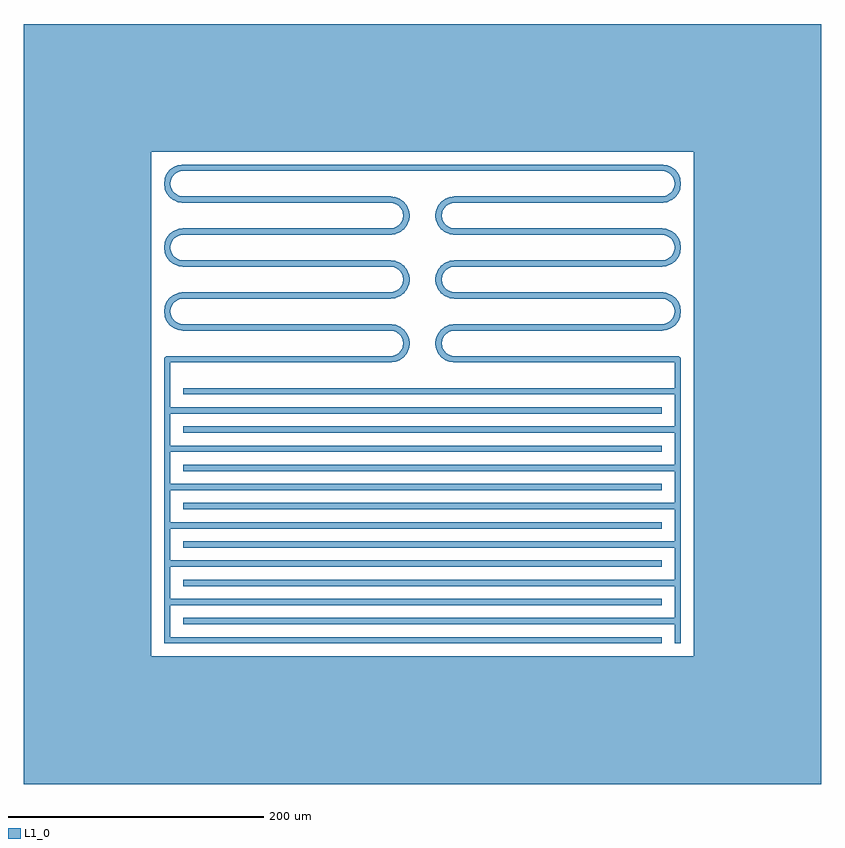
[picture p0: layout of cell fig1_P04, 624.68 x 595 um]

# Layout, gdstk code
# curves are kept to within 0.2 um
import gdstk
lib = gdstk.Library(unit=1e-6, precision=1e-09)
def R(c, l, rs):  # rectangles x0, y0, x1, y1
    for r in rs: c.add(gdstk.rectangle(r[:2], r[2:], *l))
def A(c, l, x, y, w, h, nx, ny, dx, dy):  # array of equal rectangles
    R(c, l, [(x+i*dx, y+j*dy, x+i*dx+w, y+j*dy+h) for i in range(nx) for j in range(ny)])
def P(c, l, *ps):  # polygons
    for p in ps: c.add(gdstk.Polygon(p, *l))
L1_0 = (1, 0)

fig1_p04 = lib.new_cell('fig1_P04')
A(fig1_p04, L1_0, -202.338, 0, 389.676, 5, 1, 7, 0, 30)
A(fig1_p04, L1_0, -187.338, 15, 389.676, 5, 1, 7, 0, 30)
A(fig1_p04, L1_0, -187.338, 245, 162.338, 5, 1, 5, 0, 25)
A(fig1_p04, L1_0, 25, 245, 162.338, 5, 1, 5, 0, 25)
R(fig1_p04, L1_0, [(-312.338,-110,312.338,-10), (-312.338,-10,-212.338,385), (212.338,-10,312.338,385), (-202.338,0,-197.338,200), (197.338,0,202.338,200), (-202.338,197.5,-197.338,222.5), (197.338,197.5,202.338,222.5), (-199.838,220,-25,225), (25,220,199.838,225), (-187.338,370,187.338,375), (-312.338,385,312.338,485)])
P(fig1_p04, L1_0, [(14.979,334.674),(10.021,335.326),(10.447,338.562),(15.405,337.909)],
  [(12.926,335.735),(11.158,336.467),(10.426,338.235),(11.158,340.003),(12.926,340.735),(14.694,340.003),(15.426,338.235),(14.694,336.467)],
  [(12.5,332.5),(10.732,333.232),(10,335),(10.732,336.768),(12.5,337.5),(14.268,336.768),(15,335),(14.268,333.232)],
  [(195.11,347.191),(192.066,351.158),(194.655,353.145),(197.699,349.178)],
  [(191.53,345.616),(189.617,350.236),(192.631,351.484),(194.545,346.865)],
  [(187.664,345.021),(187.012,349.979),(190.247,350.405),(190.9,345.447)],
  [(190.247,369.595),(187.012,370.021),(187.664,374.979),(190.9,374.553)],
  [(192.631,368.516),(189.617,369.764),(191.53,374.384),(194.545,373.135)],
  [(194.655,366.855),(192.066,368.842),(195.11,372.809),(197.699,370.822)],
  [(196.18,364.728),(194.193,367.317),(198.16,370.361),(200.147,367.772)],
  [(197.102,362.279),(195.854,365.293),(200.473,367.207),(201.722,364.192)],
  [(197.359,359.674),(196.933,362.909),(201.891,363.562),(202.317,360.326)],
  [(201.891,356.438),(196.933,357.091),(197.359,360.326),(202.317,359.674)],
  [(187.338,370),(185.57,370.732),(184.838,372.5),(185.57,374.268),(187.338,375),(189.106,374.268),(189.838,372.5),(189.106,370.732)],
  [(190.573,369.574),(188.805,370.306),(188.073,372.074),(188.805,373.842),(190.573,374.574),(192.341,373.842),(193.073,372.074),(192.341,370.306)],
  [(193.588,368.325),(191.82,369.058),(191.088,370.825),(191.82,372.593),(193.588,373.325),(195.356,372.593),(196.088,370.825),(195.356,369.058)],
  [(196.177,366.339),(194.409,367.071),(193.677,368.839),(194.409,370.607),(196.177,371.339),(197.945,370.607),(198.677,368.839),(197.945,367.071)],
  [(198.163,363.75),(196.396,364.482),(195.663,366.25),(196.396,368.018),(198.163,368.75),(199.931,368.018),(200.663,366.25),(199.931,364.482)],
  [(199.412,360.735),(197.644,361.467),(196.912,363.235),(197.644,365.003),(199.412,365.735),(201.18,365.003),(201.912,363.235),(201.18,361.467)],
  [(199.838,357.5),(198.07,358.232),(197.338,360),(198.07,361.768),(199.838,362.5),(201.606,361.768),(202.338,360),(201.606,358.232)],
  [(199.412,354.265),(197.644,354.997),(196.912,356.765),(197.644,358.533),(199.412,359.265),(201.18,358.533),(201.912,356.765),(201.18,354.997)],
  [(198.163,351.25),(196.396,351.982),(195.663,353.75),(196.396,355.518),(198.163,356.25),(199.931,355.518),(200.663,353.75),(199.931,351.982)],
  [(196.177,348.661),(194.409,349.393),(193.677,351.161),(194.409,352.929),(196.177,353.661),(197.945,352.929),(198.677,351.161),(197.945,349.393)],
  [(193.588,346.675),(191.82,347.407),(191.088,349.175),(191.82,350.942),(193.588,351.675),(195.356,350.942),(196.088,349.175),(195.356,347.407)],
  [(190.573,345.426),(188.805,346.158),(188.073,347.926),(188.805,349.694),(190.573,350.426),(192.341,349.694),(193.073,347.926),(192.341,346.158)],
  [(187.338,345),(185.57,345.732),(184.838,347.5),(185.57,349.268),(187.338,350),(189.106,349.268),(189.838,347.5),(189.106,345.732)],
  [(200.473,352.793),(195.854,354.707),(197.102,357.721),(201.722,355.808)],
  [(198.16,349.639),(194.193,352.683),(196.18,355.272),(200.147,352.228)],
  [(19.707,343.516),(17.793,348.135),(20.808,349.384),(22.721,344.764)],
  [(17.683,341.855),(14.639,345.822),(17.228,347.809),(20.272,343.842)],
  [(16.158,339.728),(12.191,342.772),(14.178,345.361),(18.145,342.317)],
  [(25,345),(23.232,345.732),(22.5,347.5),(23.232,349.268),(25,350),(26.768,349.268),(27.5,347.5),(26.768,345.732)],
  [(21.765,344.574),(19.997,345.306),(19.265,347.074),(19.997,348.842),(21.765,349.574),(23.533,348.842),(24.265,347.074),(23.533,345.306)],
  [(18.75,343.325),(16.982,344.058),(16.25,345.825),(16.982,347.593),(18.75,348.325),(20.518,347.593),(21.25,345.825),(20.518,344.058)],
  [(16.161,341.339),(14.393,342.071),(13.661,343.839),(14.393,345.607),(16.161,346.339),(17.929,345.607),(18.661,343.839),(17.929,342.071)],
  [(14.175,338.75),(12.407,339.482),(11.675,341.25),(12.407,343.018),(14.175,343.75),(15.942,343.018),(16.675,341.25),(15.942,339.482)],
  [(15.236,337.279),(10.616,339.192),(11.865,342.207),(16.484,340.293)],
  [(22.091,344.595),(21.438,349.553),(24.674,349.979),(25.326,345.021)],
  [(16.158,239.728),(12.191,242.772),(14.178,245.361),(18.145,242.317)],
  [(15.236,237.279),(10.616,239.192),(11.865,242.207),(16.484,240.293)],
  [(14.979,234.674),(10.021,235.326),(10.447,238.562),(15.405,237.909)],
  [(10.447,231.438),(10.021,234.674),(14.979,235.326),(15.405,232.091)],
  [(11.865,227.793),(10.616,230.808),(15.236,232.721),(16.484,229.707)],
  [(14.178,224.639),(12.191,227.228),(16.158,230.272),(18.145,227.683)],
  [(17.228,222.191),(14.639,224.178),(17.683,228.145),(20.272,226.158)],
  [(20.808,220.616),(17.793,221.865),(19.707,226.484),(22.721,225.236)],
  [(24.674,220.021),(21.438,220.447),(22.091,225.405),(25.326,224.979)],
  [(20.808,320.616),(17.793,321.865),(19.707,326.484),(22.721,325.236)],
  [(24.674,320.021),(21.438,320.447),(22.091,325.405),(25.326,324.979)],
  [(10.447,331.438),(10.021,334.674),(14.979,335.326),(15.405,332.091)],
  [(11.865,327.793),(10.616,330.808),(15.236,332.721),(16.484,329.707)],
  [(22.091,294.595),(21.438,299.553),(24.674,299.979),(25.326,295.021)],
  [(19.707,293.516),(17.793,298.135),(20.808,299.384),(22.721,294.764)],
  [(17.683,291.855),(14.639,295.822),(17.228,297.809),(20.272,293.842)],
  [(16.158,289.728),(12.191,292.772),(14.178,295.361),(18.145,292.317)],
  [(15.236,287.279),(10.616,289.192),(11.865,292.207),(16.484,290.293)],
  [(14.979,284.674),(10.021,285.326),(10.447,288.562),(15.405,287.909)],
  [(10.447,281.438),(10.021,284.674),(14.979,285.326),(15.405,282.091)],
  [(11.865,277.793),(10.616,280.808),(15.236,282.721),(16.484,279.707)],
  [(14.178,274.639),(12.191,277.228),(16.158,280.272),(18.145,277.683)],
  [(17.228,272.191),(14.639,274.178),(17.683,278.145),(20.272,276.158)],
  [(20.808,270.616),(17.793,271.865),(19.707,276.484),(22.721,275.236)],
  [(24.674,270.021),(21.438,270.447),(22.091,275.405),(25.326,274.979)],
  [(14.178,324.639),(12.191,327.228),(16.158,330.272),(18.145,327.683)],
  [(17.228,322.191),(14.639,324.178),(17.683,328.145),(20.272,326.158)],
  [(22.091,244.595),(21.438,249.553),(24.674,249.979),(25.326,245.021)],
  [(19.707,243.516),(17.793,248.135),(20.808,249.384),(22.721,244.764)],
  [(17.683,241.855),(14.639,245.822),(17.228,247.809),(20.272,243.842)],
  [(12.926,329.265),(11.158,329.997),(10.426,331.765),(11.158,333.533),(12.926,334.265),(14.694,333.533),(15.426,331.765),(14.694,329.997)],
  [(14.175,326.25),(12.407,326.982),(11.675,328.75),(12.407,330.518),(14.175,331.25),(15.942,330.518),(16.675,328.75),(15.942,326.982)],
  [(16.161,323.661),(14.393,324.393),(13.661,326.161),(14.393,327.929),(16.161,328.661),(17.929,327.929),(18.661,326.161),(17.929,324.393)],
  [(18.75,321.675),(16.982,322.407),(16.25,324.175),(16.982,325.942),(18.75,326.675),(20.518,325.942),(21.25,324.175),(20.518,322.407)],
  [(21.765,320.426),(19.997,321.158),(19.265,322.926),(19.997,324.694),(21.765,325.426),(23.533,324.694),(24.265,322.926),(23.533,321.158)],
  [(25,320),(23.232,320.732),(22.5,322.5),(23.232,324.268),(25,325),(26.768,324.268),(27.5,322.5),(26.768,320.732)],
  [(25,295),(23.232,295.732),(22.5,297.5),(23.232,299.268),(25,300),(26.768,299.268),(27.5,297.5),(26.768,295.732)],
  [(21.765,294.574),(19.997,295.306),(19.265,297.074),(19.997,298.842),(21.765,299.574),(23.533,298.842),(24.265,297.074),(23.533,295.306)],
  [(18.75,293.325),(16.982,294.058),(16.25,295.825),(16.982,297.593),(18.75,298.325),(20.518,297.593),(21.25,295.825),(20.518,294.058)],
  [(16.161,291.339),(14.393,292.071),(13.661,293.839),(14.393,295.607),(16.161,296.339),(17.929,295.607),(18.661,293.839),(17.929,292.071)],
  [(14.175,288.75),(12.407,289.482),(11.675,291.25),(12.407,293.018),(14.175,293.75),(15.942,293.018),(16.675,291.25),(15.942,289.482)],
  [(12.926,285.735),(11.158,286.467),(10.426,288.235),(11.158,290.003),(12.926,290.735),(14.694,290.003),(15.426,288.235),(14.694,286.467)],
  [(12.5,282.5),(10.732,283.232),(10,285),(10.732,286.768),(12.5,287.5),(14.268,286.768),(15,285),(14.268,283.232)],
  [(12.926,279.265),(11.158,279.997),(10.426,281.765),(11.158,283.533),(12.926,284.265),(14.694,283.533),(15.426,281.765),(14.694,279.997)],
  [(14.175,276.25),(12.407,276.982),(11.675,278.75),(12.407,280.518),(14.175,281.25),(15.942,280.518),(16.675,278.75),(15.942,276.982)],
  [(16.161,273.661),(14.393,274.393),(13.661,276.161),(14.393,277.929),(16.161,278.661),(17.929,277.929),(18.661,276.161),(17.929,274.393)],
  [(18.75,271.675),(16.982,272.407),(16.25,274.175),(16.982,275.942),(18.75,276.675),(20.518,275.942),(21.25,274.175),(20.518,272.407)],
  [(21.765,270.426),(19.997,271.158),(19.265,272.926),(19.997,274.694),(21.765,275.426),(23.533,274.694),(24.265,272.926),(23.533,271.158)],
  [(25,270),(23.232,270.732),(22.5,272.5),(23.232,274.268),(25,275),(26.768,274.268),(27.5,272.5),(26.768,270.732)],
  [(25,245),(23.232,245.732),(22.5,247.5),(23.232,249.268),(25,250),(26.768,249.268),(27.5,247.5),(26.768,245.732)],
  [(21.765,244.574),(19.997,245.306),(19.265,247.074),(19.997,248.842),(21.765,249.574),(23.533,248.842),(24.265,247.074),(23.533,245.306)],
  [(18.75,243.325),(16.982,244.058),(16.25,245.825),(16.982,247.593),(18.75,248.325),(20.518,247.593),(21.25,245.825),(20.518,244.058)],
  [(16.161,241.339),(14.393,242.071),(13.661,243.839),(14.393,245.607),(16.161,246.339),(17.929,245.607),(18.661,243.839),(17.929,242.071)],
  [(14.175,238.75),(12.407,239.482),(11.675,241.25),(12.407,243.018),(14.175,243.75),(15.942,243.018),(16.675,241.25),(15.942,239.482)],
  [(12.926,235.735),(11.158,236.467),(10.426,238.235),(11.158,240.003),(12.926,240.735),(14.694,240.003),(15.426,238.235),(14.694,236.467)],
  [(12.5,232.5),(10.732,233.232),(10,235),(10.732,236.768),(12.5,237.5),(14.268,236.768),(15,235),(14.268,233.232)],
  [(12.926,229.265),(11.158,229.997),(10.426,231.765),(11.158,233.533),(12.926,234.265),(14.694,233.533),(15.426,231.765),(14.694,229.997)],
  [(14.175,226.25),(12.407,226.982),(11.675,228.75),(12.407,230.518),(14.175,231.25),(15.942,230.518),(16.675,228.75),(15.942,226.982)],
  [(16.161,223.661),(14.393,224.393),(13.661,226.161),(14.393,227.929),(16.161,228.661),(17.929,227.929),(18.661,226.161),(17.929,224.393)],
  [(18.75,221.675),(16.982,222.407),(16.25,224.175),(16.982,225.942),(18.75,226.675),(20.518,225.942),(21.25,224.175),(20.518,222.407)],
  [(21.765,220.426),(19.997,221.158),(19.265,222.926),(19.997,224.694),(21.765,225.426),(23.533,224.694),(24.265,222.926),(23.533,221.158)],
  [(25,220),(23.232,220.732),(22.5,222.5),(23.232,224.268),(25,225),(26.768,224.268),(27.5,222.5),(26.768,220.732)],
  [(190.573,319.574),(188.805,320.306),(188.073,322.074),(188.805,323.842),(190.573,324.574),(192.341,323.842),(193.073,322.074),(192.341,320.306)],
  [(193.588,318.325),(191.82,319.058),(191.088,320.825),(191.82,322.593),(193.588,323.325),(195.356,322.593),(196.088,320.825),(195.356,319.058)],
  [(196.177,316.339),(194.409,317.071),(193.677,318.839),(194.409,320.607),(196.177,321.339),(197.945,320.607),(198.677,318.839),(197.945,317.071)],
  [(198.163,313.75),(196.396,314.482),(195.663,316.25),(196.396,318.018),(198.163,318.75),(199.931,318.018),(200.663,316.25),(199.931,314.482)],
  [(199.412,310.735),(197.644,311.467),(196.912,313.235),(197.644,315.003),(199.412,315.735),(201.18,315.003),(201.912,313.235),(201.18,311.467)],
  [(199.838,307.5),(198.07,308.232),(197.338,310),(198.07,311.768),(199.838,312.5),(201.606,311.768),(202.338,310),(201.606,308.232)],
  [(199.412,304.265),(197.644,304.997),(196.912,306.765),(197.644,308.533),(199.412,309.265),(201.18,308.533),(201.912,306.765),(201.18,304.997)],
  [(198.163,301.25),(196.396,301.982),(195.663,303.75),(196.396,305.518),(198.163,306.25),(199.931,305.518),(200.663,303.75),(199.931,301.982)],
  [(196.177,298.661),(194.409,299.393),(193.677,301.161),(194.409,302.929),(196.177,303.661),(197.945,302.929),(198.677,301.161),(197.945,299.393)],
  [(193.588,296.675),(191.82,297.407),(191.088,299.175),(191.82,300.942),(193.588,301.675),(195.356,300.942),(196.088,299.175),(195.356,297.407)],
  [(190.573,295.426),(188.805,296.158),(188.073,297.926),(188.805,299.694),(190.573,300.426),(192.341,299.694),(193.073,297.926),(192.341,296.158)],
  [(187.338,295),(185.57,295.732),(184.838,297.5),(185.57,299.268),(187.338,300),(189.106,299.268),(189.838,297.5),(189.106,295.732)],
  [(194.655,266.855),(192.066,268.842),(195.11,272.809),(197.699,270.822)],
  [(196.18,264.728),(194.193,267.317),(198.16,270.361),(200.147,267.772)],
  [(197.102,262.279),(195.854,265.293),(200.473,267.207),(201.722,264.192)],
  [(197.359,259.674),(196.933,262.909),(201.891,263.562),(202.317,260.326)],
  [(201.891,256.438),(196.933,257.091),(197.359,260.326),(202.317,259.674)],
  [(200.473,252.793),(195.854,254.707),(197.102,257.721),(201.722,255.808)],
  [(198.16,249.639),(194.193,252.683),(196.18,255.272),(200.147,252.228)],
  [(195.11,247.191),(192.066,251.158),(194.655,253.145),(197.699,249.178)],
  [(191.53,245.616),(189.617,250.236),(192.631,251.484),(194.545,246.865)],
  [(187.664,245.021),(187.012,249.979),(190.247,250.405),(190.9,245.447)],
  [(190.247,319.595),(187.012,320.021),(187.664,324.979),(190.9,324.553)],
  [(192.631,318.516),(189.617,319.764),(191.53,324.384),(194.545,323.135)],
  [(194.655,316.855),(192.066,318.842),(195.11,322.809),(197.699,320.822)],
  [(187.338,270),(185.57,270.732),(184.838,272.5),(185.57,274.268),(187.338,275),(189.106,274.268),(189.838,272.5),(189.106,270.732)],
  [(190.573,269.574),(188.805,270.306),(188.073,272.074),(188.805,273.842),(190.573,274.574),(192.341,273.842),(193.073,272.074),(192.341,270.306)],
  [(193.588,268.325),(191.82,269.058),(191.088,270.825),(191.82,272.593),(193.588,273.325),(195.356,272.593),(196.088,270.825),(195.356,269.058)],
  [(196.177,266.339),(194.409,267.071),(193.677,268.839),(194.409,270.607),(196.177,271.339),(197.945,270.607),(198.677,268.839),(197.945,267.071)],
  [(198.163,263.75),(196.396,264.482),(195.663,266.25),(196.396,268.018),(198.163,268.75),(199.931,268.018),(200.663,266.25),(199.931,264.482)],
  [(199.412,260.735),(197.644,261.467),(196.912,263.235),(197.644,265.003),(199.412,265.735),(201.18,265.003),(201.912,263.235),(201.18,261.467)],
  [(199.838,257.5),(198.07,258.232),(197.338,260),(198.07,261.768),(199.838,262.5),(201.606,261.768),(202.338,260),(201.606,258.232)],
  [(199.412,254.265),(197.644,254.997),(196.912,256.765),(197.644,258.533),(199.412,259.265),(201.18,258.533),(201.912,256.765),(201.18,254.997)],
  [(198.163,251.25),(196.396,251.982),(195.663,253.75),(196.396,255.518),(198.163,256.25),(199.931,255.518),(200.663,253.75),(199.931,251.982)],
  [(196.177,248.661),(194.409,249.393),(193.677,251.161),(194.409,252.929),(196.177,253.661),(197.945,252.929),(198.677,251.161),(197.945,249.393)],
  [(193.588,246.675),(191.82,247.407),(191.088,249.175),(191.82,250.942),(193.588,251.675),(195.356,250.942),(196.088,249.175),(195.356,247.407)],
  [(190.573,245.426),(188.805,246.158),(188.073,247.926),(188.805,249.694),(190.573,250.426),(192.341,249.694),(193.073,247.926),(192.341,246.158)],
  [(187.338,245),(185.57,245.732),(184.838,247.5),(185.57,249.268),(187.338,250),(189.106,249.268),(189.838,247.5),(189.106,245.732)],
  [(196.18,314.728),(194.193,317.317),(198.16,320.361),(200.147,317.772)],
  [(197.102,312.279),(195.854,315.293),(200.473,317.207),(201.722,314.192)],
  [(197.359,309.674),(196.933,312.909),(201.891,313.562),(202.317,310.326)],
  [(201.891,306.438),(196.933,307.091),(197.359,310.326),(202.317,309.674)],
  [(200.473,302.793),(195.854,304.707),(197.102,307.721),(201.722,305.808)],
  [(198.16,299.639),(194.193,302.683),(196.18,305.272),(200.147,302.228)],
  [(195.11,297.191),(192.066,301.158),(194.655,303.145),(197.699,299.178)],
  [(191.53,295.616),(189.617,300.236),(192.631,301.484),(194.545,296.865)],
  [(187.664,295.021),(187.012,299.979),(190.247,300.405),(190.9,295.447)],
  [(190.247,269.595),(187.012,270.021),(187.664,274.979),(190.9,274.553)],
  [(192.631,268.516),(189.617,269.764),(191.53,274.384),(194.545,273.135)],
  [(187.338,320),(185.57,320.732),(184.838,322.5),(185.57,324.268),(187.338,325),(189.106,324.268),(189.838,322.5),(189.106,320.732)],
  [(199.838,220),(198.07,220.732),(197.338,222.5),(198.07,224.268),(199.838,225),(201.606,224.268),(202.338,222.5),(201.606,220.732)],
  [(-12.5,332.5),(-14.268,333.232),(-15,335),(-14.268,336.768),(-12.5,337.5),(-10.732,336.768),(-10,335),(-10.732,333.232)],
  [(-12.926,335.735),(-14.694,336.467),(-15.426,338.235),(-14.694,340.003),(-12.926,340.735),(-11.158,340.003),(-10.426,338.235),(-11.158,336.467)],
  [(-14.979,334.674),(-15.405,337.909),(-10.447,338.562),(-10.021,335.326)],
  [(-18.75,343.325),(-20.518,344.058),(-21.25,345.825),(-20.518,347.593),(-18.75,348.325),(-16.982,347.593),(-16.25,345.825),(-16.982,344.058)],
  [(-21.765,344.574),(-23.533,345.306),(-24.265,347.074),(-23.533,348.842),(-21.765,349.574),(-19.997,348.842),(-19.265,347.074),(-19.997,345.306)],
  [(-25,345),(-26.768,345.732),(-27.5,347.5),(-26.768,349.268),(-25,350),(-23.232,349.268),(-22.5,347.5),(-23.232,345.732)],
  [(-14.175,338.75),(-15.942,339.482),(-16.675,341.25),(-15.942,343.018),(-14.175,343.75),(-12.407,343.018),(-11.675,341.25),(-12.407,339.482)],
  [(-15.236,337.279),(-16.484,340.293),(-11.865,342.207),(-10.616,339.192)],
  [(-16.158,339.728),(-18.145,342.317),(-14.178,345.361),(-12.191,342.772)],
  [(-17.683,341.855),(-20.272,343.842),(-17.228,347.809),(-14.639,345.822)],
  [(-19.707,343.516),(-22.721,344.764),(-20.808,349.384),(-17.793,348.135)],
  [(-22.091,344.595),(-25.326,345.021),(-24.674,349.979),(-21.438,349.553)],
  [(-16.161,341.339),(-17.929,342.071),(-18.661,343.839),(-17.929,345.607),(-16.161,346.339),(-14.393,345.607),(-13.661,343.839),(-14.393,342.071)],
  [(-187.338,370),(-189.106,370.732),(-189.838,372.5),(-189.106,374.268),(-187.338,375),(-185.57,374.268),(-184.838,372.5),(-185.57,370.732)],
  [(-187.338,345),(-189.106,345.732),(-189.838,347.5),(-189.106,349.268),(-187.338,350),(-185.57,349.268),(-184.838,347.5),(-185.57,345.732)],
  [(-190.573,345.426),(-192.341,346.158),(-193.073,347.926),(-192.341,349.694),(-190.573,350.426),(-188.805,349.694),(-188.073,347.926),(-188.805,346.158)],
  [(-193.588,346.675),(-195.356,347.407),(-196.088,349.175),(-195.356,350.942),(-193.588,351.675),(-191.82,350.942),(-191.088,349.175),(-191.82,347.407)],
  [(-196.177,348.661),(-197.945,349.393),(-198.677,351.161),(-197.945,352.929),(-196.177,353.661),(-194.409,352.929),(-193.677,351.161),(-194.409,349.393)],
  [(-198.163,351.25),(-199.931,351.982),(-200.663,353.75),(-199.931,355.518),(-198.163,356.25),(-196.396,355.518),(-195.663,353.75),(-196.396,351.982)],
  [(-199.412,354.265),(-201.18,354.997),(-201.912,356.765),(-201.18,358.533),(-199.412,359.265),(-197.644,358.533),(-196.912,356.765),(-197.644,354.997)],
  [(-199.838,357.5),(-201.606,358.232),(-202.338,360),(-201.606,361.768),(-199.838,362.5),(-198.07,361.768),(-197.338,360),(-198.07,358.232)],
  [(-199.412,360.735),(-201.18,361.467),(-201.912,363.235),(-201.18,365.003),(-199.412,365.735),(-197.644,365.003),(-196.912,363.235),(-197.644,361.467)],
  [(-198.163,363.75),(-199.931,364.482),(-200.663,366.25),(-199.931,368.018),(-198.163,368.75),(-196.396,368.018),(-195.663,366.25),(-196.396,364.482)],
  [(-196.177,366.339),(-197.945,367.071),(-198.677,368.839),(-197.945,370.607),(-196.177,371.339),(-194.409,370.607),(-193.677,368.839),(-194.409,367.071)],
  [(-193.588,368.325),(-195.356,369.058),(-196.088,370.825),(-195.356,372.593),(-193.588,373.325),(-191.82,372.593),(-191.088,370.825),(-191.82,369.058)],
  [(-190.573,369.574),(-192.341,370.306),(-193.073,372.074),(-192.341,373.842),(-190.573,374.574),(-188.805,373.842),(-188.073,372.074),(-188.805,370.306)],
  [(-187.664,345.021),(-190.9,345.447),(-190.247,350.405),(-187.012,349.979)],
  [(-191.53,345.616),(-194.545,346.865),(-192.631,351.484),(-189.617,350.236)],
  [(-195.11,347.191),(-197.699,349.178),(-194.655,353.145),(-192.066,351.158)],
  [(-198.16,349.639),(-200.147,352.228),(-196.18,355.272),(-194.193,352.683)],
  [(-200.473,352.793),(-201.722,355.808),(-197.102,357.721),(-195.854,354.707)],
  [(-201.891,356.438),(-202.317,359.674),(-197.359,360.326),(-196.933,357.091)],
  [(-197.359,359.674),(-202.317,360.326),(-201.891,363.562),(-196.933,362.909)],
  [(-197.102,362.279),(-201.722,364.192),(-200.473,367.207),(-195.854,365.293)],
  [(-196.18,364.728),(-200.147,367.772),(-198.16,370.361),(-194.193,367.317)],
  [(-194.655,366.855),(-197.699,370.822),(-195.11,372.809),(-192.066,368.842)],
  [(-192.631,368.516),(-194.545,373.135),(-191.53,374.384),(-189.617,369.764)],
  [(-190.247,369.595),(-190.9,374.553),(-187.664,374.979),(-187.012,370.021)],
  [(-196.177,298.661),(-197.945,299.393),(-198.677,301.161),(-197.945,302.929),(-196.177,303.661),(-194.409,302.929),(-193.677,301.161),(-194.409,299.393)],
  [(-198.163,301.25),(-199.931,301.982),(-200.663,303.75),(-199.931,305.518),(-198.163,306.25),(-196.396,305.518),(-195.663,303.75),(-196.396,301.982)],
  [(-199.412,304.265),(-201.18,304.997),(-201.912,306.765),(-201.18,308.533),(-199.412,309.265),(-197.644,308.533),(-196.912,306.765),(-197.644,304.997)],
  [(-199.838,307.5),(-201.606,308.232),(-202.338,310),(-201.606,311.768),(-199.838,312.5),(-198.07,311.768),(-197.338,310),(-198.07,308.232)],
  [(-199.412,310.735),(-201.18,311.467),(-201.912,313.235),(-201.18,315.003),(-199.412,315.735),(-197.644,315.003),(-196.912,313.235),(-197.644,311.467)],
  [(-187.664,245.021),(-190.9,245.447),(-190.247,250.405),(-187.012,249.979)],
  [(-191.53,245.616),(-194.545,246.865),(-192.631,251.484),(-189.617,250.236)],
  [(-195.11,247.191),(-197.699,249.178),(-194.655,253.145),(-192.066,251.158)],
  [(-198.16,249.639),(-200.147,252.228),(-196.18,255.272),(-194.193,252.683)],
  [(-200.473,252.793),(-201.722,255.808),(-197.102,257.721),(-195.854,254.707)],
  [(-201.891,256.438),(-202.317,259.674),(-197.359,260.326),(-196.933,257.091)],
  [(-197.359,259.674),(-202.317,260.326),(-201.891,263.562),(-196.933,262.909)],
  [(-197.102,262.279),(-201.722,264.192),(-200.473,267.207),(-195.854,265.293)],
  [(-196.18,264.728),(-200.147,267.772),(-198.16,270.361),(-194.193,267.317)],
  [(-194.655,266.855),(-197.699,270.822),(-195.11,272.809),(-192.066,268.842)],
  [(-192.631,268.516),(-194.545,273.135),(-191.53,274.384),(-189.617,269.764)],
  [(-190.247,269.595),(-190.9,274.553),(-187.664,274.979),(-187.012,270.021)],
  [(-198.163,313.75),(-199.931,314.482),(-200.663,316.25),(-199.931,318.018),(-198.163,318.75),(-196.396,318.018),(-195.663,316.25),(-196.396,314.482)],
  [(-196.177,316.339),(-197.945,317.071),(-198.677,318.839),(-197.945,320.607),(-196.177,321.339),(-194.409,320.607),(-193.677,318.839),(-194.409,317.071)],
  [(-187.664,295.021),(-190.9,295.447),(-190.247,300.405),(-187.012,299.979)],
  [(-191.53,295.616),(-194.545,296.865),(-192.631,301.484),(-189.617,300.236)],
  [(-195.11,297.191),(-197.699,299.178),(-194.655,303.145),(-192.066,301.158)],
  [(-198.16,299.639),(-200.147,302.228),(-196.18,305.272),(-194.193,302.683)],
  [(-200.473,302.793),(-201.722,305.808),(-197.102,307.721),(-195.854,304.707)],
  [(-201.891,306.438),(-202.317,309.674),(-197.359,310.326),(-196.933,307.091)],
  [(-197.359,309.674),(-202.317,310.326),(-201.891,313.562),(-196.933,312.909)],
  [(-197.102,312.279),(-201.722,314.192),(-200.473,317.207),(-195.854,315.293)],
  [(-196.18,314.728),(-200.147,317.772),(-198.16,320.361),(-194.193,317.317)],
  [(-194.655,316.855),(-197.699,320.822),(-195.11,322.809),(-192.066,318.842)],
  [(-192.631,318.516),(-194.545,323.135),(-191.53,324.384),(-189.617,319.764)],
  [(-190.247,319.595),(-190.9,324.553),(-187.664,324.979),(-187.012,320.021)],
  [(-193.588,318.325),(-195.356,319.058),(-196.088,320.825),(-195.356,322.593),(-193.588,323.325),(-191.82,322.593),(-191.088,320.825),(-191.82,319.058)],
  [(-190.573,319.574),(-192.341,320.306),(-193.073,322.074),(-192.341,323.842),(-190.573,324.574),(-188.805,323.842),(-188.073,322.074),(-188.805,320.306)],
  [(-187.338,320),(-189.106,320.732),(-189.838,322.5),(-189.106,324.268),(-187.338,325),(-185.57,324.268),(-184.838,322.5),(-185.57,320.732)],
  [(-199.838,220),(-201.606,220.732),(-202.338,222.5),(-201.606,224.268),(-199.838,225),(-198.07,224.268),(-197.338,222.5),(-198.07,220.732)],
  [(-187.338,245),(-189.106,245.732),(-189.838,247.5),(-189.106,249.268),(-187.338,250),(-185.57,249.268),(-184.838,247.5),(-185.57,245.732)],
  [(-190.573,245.426),(-192.341,246.158),(-193.073,247.926),(-192.341,249.694),(-190.573,250.426),(-188.805,249.694),(-188.073,247.926),(-188.805,246.158)],
  [(-193.588,246.675),(-195.356,247.407),(-196.088,249.175),(-195.356,250.942),(-193.588,251.675),(-191.82,250.942),(-191.088,249.175),(-191.82,247.407)],
  [(-196.177,248.661),(-197.945,249.393),(-198.677,251.161),(-197.945,252.929),(-196.177,253.661),(-194.409,252.929),(-193.677,251.161),(-194.409,249.393)],
  [(-198.163,251.25),(-199.931,251.982),(-200.663,253.75),(-199.931,255.518),(-198.163,256.25),(-196.396,255.518),(-195.663,253.75),(-196.396,251.982)],
  [(-199.412,254.265),(-201.18,254.997),(-201.912,256.765),(-201.18,258.533),(-199.412,259.265),(-197.644,258.533),(-196.912,256.765),(-197.644,254.997)],
  [(-199.838,257.5),(-201.606,258.232),(-202.338,260),(-201.606,261.768),(-199.838,262.5),(-198.07,261.768),(-197.338,260),(-198.07,258.232)],
  [(-199.412,260.735),(-201.18,261.467),(-201.912,263.235),(-201.18,265.003),(-199.412,265.735),(-197.644,265.003),(-196.912,263.235),(-197.644,261.467)],
  [(-198.163,263.75),(-199.931,264.482),(-200.663,266.25),(-199.931,268.018),(-198.163,268.75),(-196.396,268.018),(-195.663,266.25),(-196.396,264.482)],
  [(-196.177,266.339),(-197.945,267.071),(-198.677,268.839),(-197.945,270.607),(-196.177,271.339),(-194.409,270.607),(-193.677,268.839),(-194.409,267.071)],
  [(-193.588,268.325),(-195.356,269.058),(-196.088,270.825),(-195.356,272.593),(-193.588,273.325),(-191.82,272.593),(-191.088,270.825),(-191.82,269.058)],
  [(-190.573,269.574),(-192.341,270.306),(-193.073,272.074),(-192.341,273.842),(-190.573,274.574),(-188.805,273.842),(-188.073,272.074),(-188.805,270.306)],
  [(-187.338,270),(-189.106,270.732),(-189.838,272.5),(-189.106,274.268),(-187.338,275),(-185.57,274.268),(-184.838,272.5),(-185.57,270.732)],
  [(-187.338,295),(-189.106,295.732),(-189.838,297.5),(-189.106,299.268),(-187.338,300),(-185.57,299.268),(-184.838,297.5),(-185.57,295.732)],
  [(-190.573,295.426),(-192.341,296.158),(-193.073,297.926),(-192.341,299.694),(-190.573,300.426),(-188.805,299.694),(-188.073,297.926),(-188.805,296.158)],
  [(-193.588,296.675),(-195.356,297.407),(-196.088,299.175),(-195.356,300.942),(-193.588,301.675),(-191.82,300.942),(-191.088,299.175),(-191.82,297.407)],
  [(-25,245),(-26.768,245.732),(-27.5,247.5),(-26.768,249.268),(-25,250),(-23.232,249.268),(-22.5,247.5),(-23.232,245.732)],
  [(-25,320),(-26.768,320.732),(-27.5,322.5),(-26.768,324.268),(-25,325),(-23.232,324.268),(-22.5,322.5),(-23.232,320.732)],
  [(-21.765,320.426),(-23.533,321.158),(-24.265,322.926),(-23.533,324.694),(-21.765,325.426),(-19.997,324.694),(-19.265,322.926),(-19.997,321.158)],
  [(-18.75,321.675),(-20.518,322.407),(-21.25,324.175),(-20.518,325.942),(-18.75,326.675),(-16.982,325.942),(-16.25,324.175),(-16.982,322.407)],
  [(-16.161,323.661),(-17.929,324.393),(-18.661,326.161),(-17.929,327.929),(-16.161,328.661),(-14.393,327.929),(-13.661,326.161),(-14.393,324.393)],
  [(-14.175,326.25),(-15.942,326.982),(-16.675,328.75),(-15.942,330.518),(-14.175,331.25),(-12.407,330.518),(-11.675,328.75),(-12.407,326.982)],
  [(-12.926,329.265),(-14.694,329.997),(-15.426,331.765),(-14.694,333.533),(-12.926,334.265),(-11.158,333.533),(-10.426,331.765),(-11.158,329.997)],
  [(-25,270),(-26.768,270.732),(-27.5,272.5),(-26.768,274.268),(-25,275),(-23.232,274.268),(-22.5,272.5),(-23.232,270.732)],
  [(-21.765,270.426),(-23.533,271.158),(-24.265,272.926),(-23.533,274.694),(-21.765,275.426),(-19.997,274.694),(-19.265,272.926),(-19.997,271.158)],
  [(-18.75,271.675),(-20.518,272.407),(-21.25,274.175),(-20.518,275.942),(-18.75,276.675),(-16.982,275.942),(-16.25,274.175),(-16.982,272.407)],
  [(-16.161,273.661),(-17.929,274.393),(-18.661,276.161),(-17.929,277.929),(-16.161,278.661),(-14.393,277.929),(-13.661,276.161),(-14.393,274.393)],
  [(-24.674,270.021),(-25.326,274.979),(-22.091,275.405),(-21.438,270.447)],
  [(-20.808,270.616),(-22.721,275.236),(-19.707,276.484),(-17.793,271.865)],
  [(-17.228,272.191),(-20.272,276.158),(-17.683,278.145),(-14.639,274.178)],
  [(-14.178,274.639),(-18.145,277.683),(-16.158,280.272),(-12.191,277.228)],
  [(-11.865,277.793),(-16.484,279.707),(-15.236,282.721),(-10.616,280.808)],
  [(-10.447,281.438),(-15.405,282.091),(-14.979,285.326),(-10.021,284.674)],
  [(-14.979,284.674),(-15.405,287.909),(-10.447,288.562),(-10.021,285.326)],
  [(-15.236,287.279),(-16.484,290.293),(-11.865,292.207),(-10.616,289.192)],
  [(-16.158,289.728),(-18.145,292.317),(-14.178,295.361),(-12.191,292.772)],
  [(-17.683,291.855),(-20.272,293.842),(-17.228,297.809),(-14.639,295.822)],
  [(-19.707,293.516),(-22.721,294.764),(-20.808,299.384),(-17.793,298.135)],
  [(-22.091,294.595),(-25.326,295.021),(-24.674,299.979),(-21.438,299.553)],
  [(-14.175,276.25),(-15.942,276.982),(-16.675,278.75),(-15.942,280.518),(-14.175,281.25),(-12.407,280.518),(-11.675,278.75),(-12.407,276.982)],
  [(-12.926,279.265),(-14.694,279.997),(-15.426,281.765),(-14.694,283.533),(-12.926,284.265),(-11.158,283.533),(-10.426,281.765),(-11.158,279.997)],
  [(-12.5,282.5),(-14.268,283.232),(-15,285),(-14.268,286.768),(-12.5,287.5),(-10.732,286.768),(-10,285),(-10.732,283.232)],
  [(-12.926,285.735),(-14.694,286.467),(-15.426,288.235),(-14.694,290.003),(-12.926,290.735),(-11.158,290.003),(-10.426,288.235),(-11.158,286.467)],
  [(-14.175,288.75),(-15.942,289.482),(-16.675,291.25),(-15.942,293.018),(-14.175,293.75),(-12.407,293.018),(-11.675,291.25),(-12.407,289.482)],
  [(-16.161,291.339),(-17.929,292.071),(-18.661,293.839),(-17.929,295.607),(-16.161,296.339),(-14.393,295.607),(-13.661,293.839),(-14.393,292.071)],
  [(-18.75,293.325),(-20.518,294.058),(-21.25,295.825),(-20.518,297.593),(-18.75,298.325),(-16.982,297.593),(-16.25,295.825),(-16.982,294.058)],
  [(-21.765,294.574),(-23.533,295.306),(-24.265,297.074),(-23.533,298.842),(-21.765,299.574),(-19.997,298.842),(-19.265,297.074),(-19.997,295.306)],
  [(-25,295),(-26.768,295.732),(-27.5,297.5),(-26.768,299.268),(-25,300),(-23.232,299.268),(-22.5,297.5),(-23.232,295.732)],
  [(-25,220),(-26.768,220.732),(-27.5,222.5),(-26.768,224.268),(-25,225),(-23.232,224.268),(-22.5,222.5),(-23.232,220.732)],
  [(-21.765,220.426),(-23.533,221.158),(-24.265,222.926),(-23.533,224.694),(-21.765,225.426),(-19.997,224.694),(-19.265,222.926),(-19.997,221.158)],
  [(-18.75,221.675),(-20.518,222.407),(-21.25,224.175),(-20.518,225.942),(-18.75,226.675),(-16.982,225.942),(-16.25,224.175),(-16.982,222.407)],
  [(-16.161,223.661),(-17.929,224.393),(-18.661,226.161),(-17.929,227.929),(-16.161,228.661),(-14.393,227.929),(-13.661,226.161),(-14.393,224.393)],
  [(-14.175,226.25),(-15.942,226.982),(-16.675,228.75),(-15.942,230.518),(-14.175,231.25),(-12.407,230.518),(-11.675,228.75),(-12.407,226.982)],
  [(-24.674,320.021),(-25.326,324.979),(-22.091,325.405),(-21.438,320.447)],
  [(-20.808,320.616),(-22.721,325.236),(-19.707,326.484),(-17.793,321.865)],
  [(-17.228,322.191),(-20.272,326.158),(-17.683,328.145),(-14.639,324.178)],
  [(-14.178,324.639),(-18.145,327.683),(-16.158,330.272),(-12.191,327.228)],
  [(-11.865,327.793),(-16.484,329.707),(-15.236,332.721),(-10.616,330.808)],
  [(-10.447,331.438),(-15.405,332.091),(-14.979,335.326),(-10.021,334.674)],
  [(-12.926,229.265),(-14.694,229.997),(-15.426,231.765),(-14.694,233.533),(-12.926,234.265),(-11.158,233.533),(-10.426,231.765),(-11.158,229.997)],
  [(-12.5,232.5),(-14.268,233.232),(-15,235),(-14.268,236.768),(-12.5,237.5),(-10.732,236.768),(-10,235),(-10.732,233.232)],
  [(-12.926,235.735),(-14.694,236.467),(-15.426,238.235),(-14.694,240.003),(-12.926,240.735),(-11.158,240.003),(-10.426,238.235),(-11.158,236.467)],
  [(-14.175,238.75),(-15.942,239.482),(-16.675,241.25),(-15.942,243.018),(-14.175,243.75),(-12.407,243.018),(-11.675,241.25),(-12.407,239.482)],
  [(-24.674,220.021),(-25.326,224.979),(-22.091,225.405),(-21.438,220.447)],
  [(-20.808,220.616),(-22.721,225.236),(-19.707,226.484),(-17.793,221.865)],
  [(-17.228,222.191),(-20.272,226.158),(-17.683,228.145),(-14.639,224.178)],
  [(-14.178,224.639),(-18.145,227.683),(-16.158,230.272),(-12.191,227.228)],
  [(-11.865,227.793),(-16.484,229.707),(-15.236,232.721),(-10.616,230.808)],
  [(-10.447,231.438),(-15.405,232.091),(-14.979,235.326),(-10.021,234.674)],
  [(-14.979,234.674),(-15.405,237.909),(-10.447,238.562),(-10.021,235.326)],
  [(-15.236,237.279),(-16.484,240.293),(-11.865,242.207),(-10.616,239.192)],
  [(-16.158,239.728),(-18.145,242.317),(-14.178,245.361),(-12.191,242.772)],
  [(-17.683,241.855),(-20.272,243.842),(-17.228,247.809),(-14.639,245.822)],
  [(-19.707,243.516),(-22.721,244.764),(-20.808,249.384),(-17.793,248.135)],
  [(-22.091,244.595),(-25.326,245.021),(-24.674,249.979),(-21.438,249.553)],
  [(-16.161,241.339),(-17.929,242.071),(-18.661,243.839),(-17.929,245.607),(-16.161,246.339),(-14.393,245.607),(-13.661,243.839),(-14.393,242.071)],
  [(-18.75,243.325),(-20.518,244.058),(-21.25,245.825),(-20.518,247.593),(-18.75,248.325),(-16.982,247.593),(-16.25,245.825),(-16.982,244.058)],
  [(-21.765,244.574),(-23.533,245.306),(-24.265,247.074),(-23.533,248.842),(-21.765,249.574),(-19.997,248.842),(-19.265,247.074),(-19.997,245.306)])

lib.write_gds('fig1_P04.gds')
